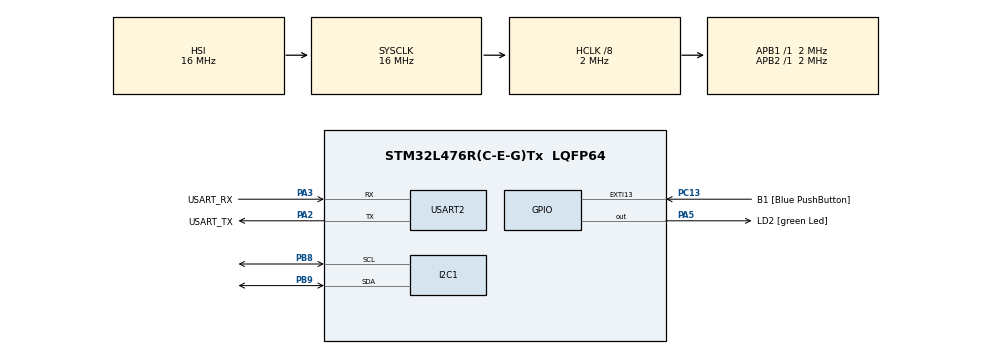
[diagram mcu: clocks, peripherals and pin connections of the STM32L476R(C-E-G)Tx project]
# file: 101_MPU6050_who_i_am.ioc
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I2C1.Timing=0x00000508
Mcu.Family=STM32L4
Mcu.Name=STM32L476R(C-E-G)Tx
Mcu.Package=LQFP64
NVIC.PriorityGroup=NVIC_PRIORITYGROUP_4
NVIC.TIM6_DAC_IRQn=true\:0\:0\:false\:true\:true\:1\:true\:true\:true
PA13\ (JTMS-SWDIO).GPIO_Label=TMS
PA13\ (JTMS-SWDIO).Mode=Serial_Wire
PA13\ (JTMS-SWDIO).Signal=SYS_JTMS-SWDIO
PA14\ (JTCK-SWCLK).GPIO_Label=TCK
PA14\ (JTCK-SWCLK).Mode=Serial_Wire
PA14\ (JTCK-SWCLK).Signal=SYS_JTCK-SWCLK
PA2.GPIO_Label=USART_TX
PA2.GPIO_Mode=GPIO_MODE_AF_PP
PA2.GPIO_PuPd=GPIO_NOPULL
PA2.GPIO_Speed=GPIO_SPEED_FREQ_VERY_HIGH
PA2.Mode=Asynchronous
PA2.Signal=USART2_TX
PA3.GPIO_Label=USART_RX
PA3.GPIO_Mode=GPIO_MODE_AF_PP
PA3.GPIO_PuPd=GPIO_NOPULL
PA3.GPIO_Speed=GPIO_SPEED_FREQ_VERY_HIGH
PA3.Mode=Asynchronous
PA3.Signal=USART2_RX
PA5.GPIO_Label=LD2 [green Led]
PA5.GPIO_ModeDefaultOutputPP=GPIO_MODE_OUTPUT_PP
PA5.GPIO_PuPd=GPIO_NOPULL
PA5.GPIO_Speed=GPIO_SPEED_FREQ_LOW
PA5.Signal=GPIO_Output
PB3\ (JTDO-TRACESWO).GPIO_Label=SWO
PB3\ (JTDO-TRACESWO).Signal=SYS_JTDO-SWO
PB8.Mode=I2C
PB8.Signal=I2C1_SCL
PB9.Mode=I2C
PB9.Signal=I2C1_SDA
PC13.GPIO_Label=B1 [Blue PushButton]
PC13.GPIO_ModeDefaultEXTI=GPIO_MODE_IT_FALLING
PC13.GPIO_PuPd=GPIO_NOPULL
PC13.Signal=GPXTI13
PC14-OSC32_IN\ (PC14).Mode=LSE-External-Oscillator
PC14-OSC32_IN\ (PC14).Signal=RCC_OSC32_IN
PC15-OSC32_OUT\ (PC15).Mode=LSE-External-Oscillator
PC15-OSC32_OUT\ (PC15).Signal=RCC_OSC32_OUT
PH0-OSC_IN\ (PH0).Signal=RCC_OSC_IN
PH1-OSC_OUT\ (PH1).Signal=RCC_OSC_OUT
ProjectManager.HeapSize=0x200
ProjectManager.StackSize=0x400
ProjectManager.TargetToolchain=STM32CubeIDE
RCC.ADCFreq_Value=64000000
RCC.AHBCLKDivider=RCC_SYSCLK_DIV8
RCC.AHBFreq_Value=2000000
RCC.APB1Freq_Value=2000000
RCC.APB1TimFreq_Value=2000000
RCC.APB2Freq_Value=2000000
RCC.APB2TimFreq_Value=2000000
RCC.CortexFreq_Value=2000000
RCC.HCLKFreq_Value=2000000
RCC.HSE_VALUE=8000000
RCC.HSI_VALUE=16000000
RCC.MSI_VALUE=4000000
RCC.PLLN=10
RCC.PLLSourceVirtual=RCC_PLLSOURCE_HSI
RCC.PREFETCH_ENABLE=1
RCC.SYSCLKFreq_VALUE=16000000
RCC.SYSCLKSource=RCC_SYSCLKSOURCE_HSI
RCC.USBFreq_Value=64000000
RCC.VCOOutputFreq_Value=160000000
TIM6.Period=1000-1
TIM6.Prescaler=100-1
USART2.VirtualMode-Asynchronous=VM_ASYNC
VP_TIM6_VS_ClockSourceINT.Mode=Enable_Timer
board=NUCLEO-L476RG

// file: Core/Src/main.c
/* USER CODE BEGIN Header */
/**
  ******************************************************************************
  * @file           : main.c
  * @brief          : Main program body
  ******************************************************************************
  * @attention
  *
  * Copyright (c) 2025 STMicroelectronics.
  * All rights reserved.
  *
  * This software is licensed under terms that can be found in the LICENSE file
  * in the root directory of this software component.
  * If no LICENSE file comes with this software, it is provided AS-IS.
  *
  ******************************************************************************
  */
/* USER CODE END Header */
#include "main.h"

/* USER CODE BEGIN Includes */
#include <stdio.h>

/* USER CODE END Includes */

/* USER CODE BEGIN PD */
#define MPU6050_ADDR 0x68 << 1 // MPU6050 I2C address, assuming AD0 is connected to GND (7-bit address << 1 for R/W bit)
#define WHO_AM_I_REG 0x75      // Address of the WHO_AM_I register, used to verify the device identity
#define PWR_MGMT_1   0x6B      // Address of the Power Management 1 register
#define ACCEL_CONFIG 0x1C      // Address of the Accelerometer Configuration register
#define GYRO_CONFIG	 0x1B      // Address of the Gyroscope Configuration register
#define SMPLRT_DIV   0x19      // Address of the Sample Rate Divider register
#define CONFIG       0x1A      // Address of the Configuration register
#define ACCEL_XOUT_H 0x3B      // Address of the high byte of the accelerometer X-axis data
#define GYRO_XOUT_H  0x43      // Address of the high byte of the gyroscope X-axis data

/* USER CODE END PD */

I2C_HandleTypeDef hi2c1;

TIM_HandleTypeDef htim6;

UART_HandleTypeDef huart2;

/* USER CODE BEGIN PV */
char f_imu_send = 0;	// Flag to signal that MPU6050 data should be read and sent.
uint8_t who_am_i = 0;	// Variable to store the value of the WHO_AM_I register for verification.
int16_t ax, ay, az;		// 16-bit signed integers to hold accelerometer data for X, Y, and Z axes.
int16_t gx, gy, gz;		// 16-bit signed integers to hold gyroscope data for X, Y, and Z axes.

/* USER CODE END PV */

void SystemClock_Config(void);
static void MX_GPIO_Init(void);
static void MX_USART2_UART_Init(void);
static void MX_TIM6_Init(void);
static void MX_I2C1_Init(void);
static void MX_NVIC_Init(void);
/* USER CODE BEGIN PFP */
// Function to read the MPU6050 device ID.
uint8_t Read_MPU6050_ID();
// Function to write a single byte of data to a specific MPU6050 register.
void MPU6050_Write(uint8_t reg, uint8_t data);
// Function to read multiple bytes of data from a specific MPU6050 register.
void MPU6050_Read(uint8_t reg, uint8_t* data, uint8_t length);
// Function to initialize the MPU6050 sensor with desired settings.
void MPU6050_Init(void);
// Function to read accelerometer data for all three axes.
void MPU6050_ReadAccel(int16_t* ax, int16_t* ay, int16_t* az);
// Function to read gyroscope data for all three axes.
void MPU6050_ReadGyro(int16_t* gx, int16_t* gy, int16_t* gz);
/* USER CODE END PFP */

/* USER CODE BEGIN 0 */
// This function re-routes the standard `printf` function to use the specified UART peripheral.
// It allows developers to print messages to a connected terminal or serial monitor for debugging.
int _write(int file, char *ptr, int len) {
    HAL_UART_Transmit(&huart2, (uint8_t*) ptr, len, HAL_MAX_DELAY);
    return len;
}
/* USER CODE END 0 */

int main(void)
{

  /* MCU Configuration--------------------------------------------------------*/

  /* Reset of all peripherals, Initializes the Flash interface and the Systick. */
  HAL_Init();

  /* Configure the system clock */
  SystemClock_Config();

  /* Initialize all configured peripherals */
  MX_GPIO_Init();
  MX_USART2_UART_Init();
  MX_TIM6_Init();
  MX_I2C1_Init();

  /* Initialize interrupts */
  MX_NVIC_Init();
  /* USER CODE BEGIN 2 */
  // Starts the TIM4 timer in interrupt mode, which triggers the `HAL_TIM_PeriodElapsedCallback` function periodically.
  HAL_TIM_Base_Start_IT(&htim6);
  // Calls the MPU6050 initialization function to configure the sensor.
  MPU6050_Init();
  /* USER CODE END 2 */

  /* Infinite loop */
  /* USER CODE BEGIN WHILE */
  while (1)
  {
	  if(f_imu_send == 1){
		  who_am_i = Read_MPU6050_ID();
		  printf("CHIP ID: %d \r\n", who_am_i);
		  f_imu_send = 0;
	  }
    /* USER CODE END WHILE */

  }
}

void SystemClock_Config(void)
{
  RCC_OscInitTypeDef RCC_OscInitStruct = {0};
  RCC_ClkInitTypeDef RCC_ClkInitStruct = {0};

  /** Configure the main internal regulator output voltage
  */
  if (HAL_PWREx_ControlVoltageScaling(PWR_REGULATOR_VOLTAGE_SCALE1) != HAL_OK)
  {
    Error_Handler();
  }

  /** Initializes the RCC Oscillators according to the specified parameters
  * in the RCC_OscInitTypeDef structure.
  */
  RCC_OscInitStruct.OscillatorType = RCC_OSCILLATORTYPE_HSI;
  RCC_OscInitStruct.HSIState = RCC_HSI_ON;
  RCC_OscInitStruct.HSICalibrationValue = RCC_HSICALIBRATION_DEFAULT;
  RCC_OscInitStruct.PLL.PLLState = RCC_PLL_NONE;
  if (HAL_RCC_OscConfig(&RCC_OscInitStruct) != HAL_OK)
  {
    Error_Handler();
  }

  /** Initializes the CPU, AHB and APB buses clocks
  */
  RCC_ClkInitStruct.ClockType = RCC_CLOCKTYPE_HCLK|RCC_CLOCKTYPE_SYSCLK
                              |RCC_CLOCKTYPE_PCLK1|RCC_CLOCKTYPE_PCLK2;
  RCC_ClkInitStruct.SYSCLKSource = RCC_SYSCLKSOURCE_HSI;
  RCC_ClkInitStruct.AHBCLKDivider = RCC_SYSCLK_DIV8;
  RCC_ClkInitStruct.APB1CLKDivider = RCC_HCLK_DIV1;
  RCC_ClkInitStruct.APB2CLKDivider = RCC_HCLK_DIV1;

  if (HAL_RCC_ClockConfig(&RCC_ClkInitStruct, FLASH_LATENCY_0) != HAL_OK)
  {
    Error_Handler();
  }
}

/**
  * @brief NVIC Configuration.
  * @retval None
  */
static void MX_NVIC_Init(void)
{
  /* TIM6_DAC_IRQn interrupt configuration */
  HAL_NVIC_SetPriority(TIM6_DAC_IRQn, 0, 0);
  HAL_NVIC_EnableIRQ(TIM6_DAC_IRQn);
}

static void MX_I2C1_Init(void)
{

  hi2c1.Instance = I2C1;
  hi2c1.Init.Timing = 0x00000508;
  hi2c1.Init.OwnAddress1 = 0;
  hi2c1.Init.AddressingMode = I2C_ADDRESSINGMODE_7BIT;
  hi2c1.Init.DualAddressMode = I2C_DUALADDRESS_DISABLE;
  hi2c1.Init.OwnAddress2 = 0;
  hi2c1.Init.OwnAddress2Masks = I2C_OA2_NOMASK;
  hi2c1.Init.GeneralCallMode = I2C_GENERALCALL_DISABLE;
  hi2c1.Init.NoStretchMode = I2C_NOSTRETCH_DISABLE;
  if (HAL_I2C_Init(&hi2c1) != HAL_OK)
  {
    Error_Handler();
  }

  /** Configure Analogue filter
  */
  if (HAL_I2CEx_ConfigAnalogFilter(&hi2c1, I2C_ANALOGFILTER_ENABLE) != HAL_OK)
  {
    Error_Handler();
  }

  /** Configure Digital filter
  */
  if (HAL_I2CEx_ConfigDigitalFilter(&hi2c1, 0) != HAL_OK)
  {
    Error_Handler();
  }

}

static void MX_TIM6_Init(void)
{

  TIM_MasterConfigTypeDef sMasterConfig = {0};

  htim6.Instance = TIM6;
  htim6.Init.Prescaler = 100-1;
  htim6.Init.CounterMode = TIM_COUNTERMODE_UP;
  htim6.Init.Period = 1000-1;
  htim6.Init.AutoReloadPreload = TIM_AUTORELOAD_PRELOAD_DISABLE;
  if (HAL_TIM_Base_Init(&htim6) != HAL_OK)
  {
    Error_Handler();
  }
  sMasterConfig.MasterOutputTrigger = TIM_TRGO_RESET;
  sMasterConfig.MasterSlaveMode = TIM_MASTERSLAVEMODE_DISABLE;
  if (HAL_TIMEx_MasterConfigSynchronization(&htim6, &sMasterConfig) != HAL_OK)
  {
    Error_Handler();
  }

}

static void MX_USART2_UART_Init(void)
{

  huart2.Instance = USART2;
  huart2.Init.BaudRate = 115200;
  huart2.Init.WordLength = UART_WORDLENGTH_8B;
  huart2.Init.StopBits = UART_STOPBITS_1;
  huart2.Init.Parity = UART_PARITY_NONE;
  huart2.Init.Mode = UART_MODE_TX_RX;
  huart2.Init.HwFlowCtl = UART_HWCONTROL_NONE;
  huart2.Init.OverSampling = UART_OVERSAMPLING_16;
  huart2.Init.OneBitSampling = UART_ONE_BIT_SAMPLE_DISABLE;
  huart2.AdvancedInit.AdvFeatureInit = UART_ADVFEATURE_NO_INIT;
  if (HAL_UART_Init(&huart2) != HAL_OK)
  {
    Error_Handler();
  }

}

static void MX_GPIO_Init(void)
{
  GPIO_InitTypeDef GPIO_InitStruct = {0};

  /* GPIO Ports Clock Enable */
  __HAL_RCC_GPIOC_CLK_ENABLE();
  __HAL_RCC_GPIOH_CLK_ENABLE();
  __HAL_RCC_GPIOA_CLK_ENABLE();
  __HAL_RCC_GPIOB_CLK_ENABLE();

  /*Configure GPIO pin Output Level */
  HAL_GPIO_WritePin(LD2_GPIO_Port, LD2_Pin, GPIO_PIN_RESET);

  /*Configure GPIO pin : B1_Pin */
  GPIO_InitStruct.Pin = B1_Pin;
  GPIO_InitStruct.Mode = GPIO_MODE_IT_FALLING;
  GPIO_InitStruct.Pull = GPIO_NOPULL;
  HAL_GPIO_Init(B1_GPIO_Port, &GPIO_InitStruct);

  /*Configure GPIO pin : LD2_Pin */
  GPIO_InitStruct.Pin = LD2_Pin;
  GPIO_InitStruct.Mode = GPIO_MODE_OUTPUT_PP;
  GPIO_InitStruct.Pull = GPIO_NOPULL;
  GPIO_InitStruct.Speed = GPIO_SPEED_FREQ_LOW;
  HAL_GPIO_Init(LD2_GPIO_Port, &GPIO_InitStruct);

}

/* USER CODE BEGIN 4 */
// This is the callback function that gets called automatically when a timer period elapses.
void HAL_TIM_PeriodElapsedCallback(TIM_HandleTypeDef *htim) {
    // Checks if the interrupt came from TIM4.
    if (htim->Instance == TIM6) {
        // Toggles a pin (PD12) on the board. This can be used as a visual indicator (e.g., an LED) or for debugging.
        HAL_GPIO_TogglePin(GPIOA, GPIO_PIN_5);
        // Sets the flag to 1, signaling the main loop to read and send IMU data.
        f_imu_send = 1;
    }
}

// Function to read the MPU6050's WHO_AM_I register. This is for verifying the device.
// The return value seems to be a placeholder and doesn't return the actual register value.
uint8_t Read_MPU6050_ID() {
	// Reads the WHO_AM_I register using HAL's I2C memory read function.
	uint8_t reg = 0;
	who_am_i =  HAL_I2C_Mem_Read(&hi2c1, MPU6050_ADDR, WHO_AM_I_REG, I2C_MEMADD_SIZE_8BIT, &reg, 1, 100);
	return reg;
}

// Wraps the HAL I2C Master Transmit function for a single register write.
void MPU6050_Write(uint8_t reg, uint8_t data) {
    uint8_t buffer[2] = {reg, data};
    HAL_I2C_Master_Transmit(&hi2c1, MPU6050_ADDR, buffer, 2, 100);
}

// Wraps the HAL I2C Master functions for reading multiple bytes from a register.
void MPU6050_Read(uint8_t reg, uint8_t* data, uint8_t length) {
    HAL_I2C_Master_Transmit(&hi2c1, MPU6050_ADDR, &reg, 1, 100);
    HAL_I2C_Master_Receive(&hi2c1, MPU6050_ADDR, data, length, 100);
}

// Initializes the MPU6050 sensor by writing to its configuration registers.
void MPU6050_Init(void) {
    // 1. Wakes up the sensor by writing 0x00 to the Power Management 1 register.
    MPU6050_Write(PWR_MGMT_1, 0x00);
    HAL_Delay(100);
    // 2. Configures the accelerometer full-scale range to ±2g by writing 0x00.
    MPU6050_Write(ACCEL_CONFIG, 0x00);
    HAL_Delay(10);
    // 2. (commented out) Configures the gyroscope full-scale range to ±250°/s.
    // MPU6050_Write(0x1B, 0x00);
    // HAL_Delay(10);
    // 3. Sets the sample rate divider to 7, resulting in a sample rate of 1kHz / (1+7) = 125Hz.
    MPU6050_Write(SMPLRT_DIV, 0x07);
    HAL_Delay(10);
    // 4. Configures the Digital Low-Pass Filter (DLPF) to a bandwidth of 44Hz.
    MPU6050_Write(CONFIG, 0x03);
    HAL_Delay(10);
}

// Reads raw accelerometer data from the sensor.
void MPU6050_ReadAccel(int16_t* ax, int16_t* ay, int16_t* az) {
    uint8_t buffer[6]; // Buffer to store 6 bytes of data (2 for each axis).
    // Reads all 6 bytes of accelerometer data, starting from the X-axis high byte register.
    MPU6050_Read(ACCEL_XOUT_H, buffer, 6);
    // Combines the high and low bytes to form 16-bit signed integers for each axis.
    *ax = (int16_t)(buffer[0] << 8 | buffer[1]);
    *ay = (int16_t)(buffer[2] << 8 | buffer[3]);
    *az = (int16_t)(buffer[4] << 8 | buffer[5]);
}

// Reads raw gyroscope data from the sensor.
void MPU6050_ReadGyro(int16_t* gx, int16_t* gy, int16_t* gz) {
    uint8_t buffer[6]; // Buffer to store 6 bytes of data (2 for each axis).
    // Reads all 6 bytes of gyroscope data, starting from the X-axis high byte register.
    MPU6050_Read(GYRO_XOUT_H, buffer, 6);
    // Combines the high and low bytes to form 16-bit signed integers for each axis.
    *gx = (int16_t)(buffer[0] << 8 | buffer[1]);
    *gy = (int16_t)(buffer[2] << 8 | buffer[3]);
    *gz = (int16_t)(buffer[4] << 8 | buffer[5]);
}

/* USER CODE END 4 */

void Error_Handler(void)
{
  __disable_irq();
  while (1)
  {
  }
}
